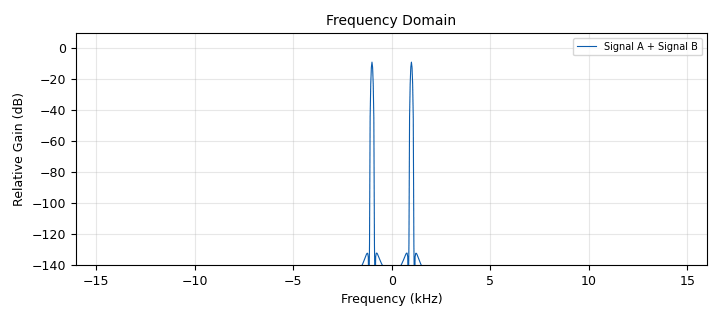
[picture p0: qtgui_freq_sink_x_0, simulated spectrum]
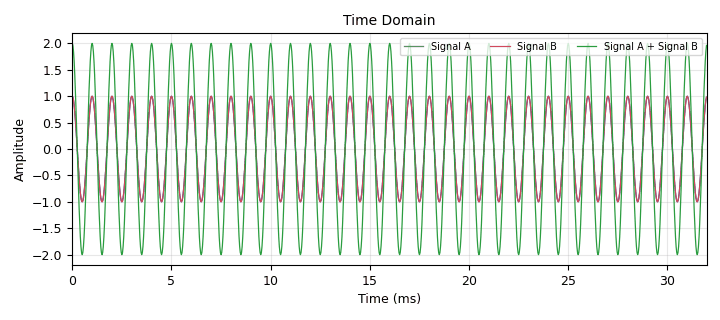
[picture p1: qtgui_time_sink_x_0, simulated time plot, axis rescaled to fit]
options:
  parameters:
    author: mraptakis
    generate_options: qt_gui
    id: cs330_lab1
    output_language: python
    title: CS-330 Lab 1
  states: {}

blocks:
- name: freq_a
  id: variable_qtgui_range
  parameters:
    label: Frequency A
    orient: Qt.Horizontal
    start: '0'
    step: '1'
    stop: samp_rate / 2
    value: 1e3
  states: {}
- name: freq_b
  id: variable_qtgui_range
  parameters:
    label: Frequency B
    orient: Qt.Horizontal
    start: '0'
    step: '1'
    stop: samp_rate / 2
    value: 1e3
  states: {}
- name: samp_rate
  id: variable
  parameters:
    value: '32000'
  states: {}
- name: analog_sig_source_x_0
  id: analog_sig_source_x
  parameters:
    amp: '1'
    freq: freq_a
    offset: '0'
    phase: '0'
    samp_rate: samp_rate
    type: float
    waveform: analog.GR_COS_WAVE
  states: {}
- name: analog_sig_source_x_0_0
  id: analog_sig_source_x
  parameters:
    amp: '1'
    freq: freq_b
    offset: '0'
    phase: '0'
    samp_rate: samp_rate
    type: float
    waveform: analog.GR_COS_WAVE
  states: {}
- name: blocks_add_xx_0
  id: blocks_add_xx
  parameters:
    type: float
  states: {}
- name: blocks_throttle_0
  id: blocks_throttle
  parameters:
    samples_per_second: samp_rate
    type: float
  states: {}
- name: qtgui_freq_sink_x_0
  id: qtgui_freq_sink_x
  parameters:
    bw: samp_rate
    fc: '0'
    fftsize: '1024'
    label1: Signal A + Signal B
    name: '"Frequency Domain"'
    type: float
    wintype: firdes.WIN_BLACKMAN_hARRIS
  states: {}
- name: qtgui_time_sink_x_0
  id: qtgui_time_sink_x
  parameters:
    label1: Signal A
    label2: Signal B
    label3: Signal A + Signal B
    name: '"Time Domain"'
    nconnections: '3'
    size: '1024'
    srate: samp_rate
    type: float
  states: {}

connections:
- [analog_sig_source_x_0, '0', blocks_add_xx_0, '0']
- [analog_sig_source_x_0, '0', qtgui_time_sink_x_0, '0']
- [analog_sig_source_x_0_0, '0', blocks_add_xx_0, '1']
- [analog_sig_source_x_0_0, '0', qtgui_time_sink_x_0, '1']
- [blocks_add_xx_0, '0', blocks_throttle_0, '0']
- [blocks_add_xx_0, '0', qtgui_freq_sink_x_0, '0']
- [blocks_throttle_0, '0', qtgui_time_sink_x_0, '2']

metadata:
  file_format: 1
